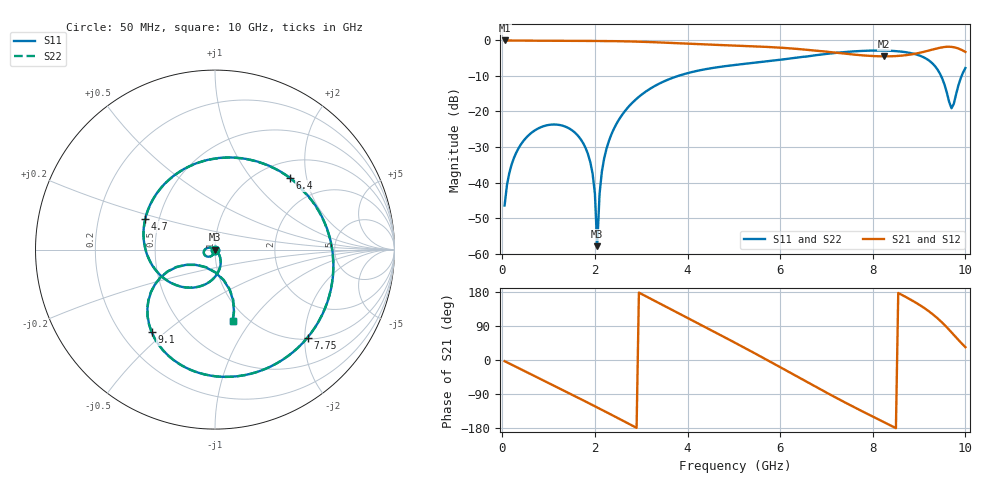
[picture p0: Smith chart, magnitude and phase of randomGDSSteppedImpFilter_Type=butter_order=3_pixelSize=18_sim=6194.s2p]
! freq	dB(S11)	phase(S11)	dB(S12)	phase(S12)
!  dB(S21)	phase(S21)	dB(S22)	phase(S22)
!S-par simulation data
#  GHz  S  DB  R 50
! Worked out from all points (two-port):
!   200 points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, 50 MHz to 10 GHz, reference 50 ohm
!   highest |S21| = 0.00 dB at 50 MHz (marker M1); lowest = -4.5 dB at 8.25 GHz (marker M2)
!   |S21| within 3 dB of the highest: start of sweep to 6.887 GHz; 9.163 GHz to 9.969 GHz (805.7 MHz wide, 8.42 % of centre)
!   lowest |S11| = -57.9 dB at 2.05 GHz (marker M3), VSWR 1.00, Z = 49.9 - j0.0307 ohm
!   |S11| at or under -10 dB: start of sweep to 3.795 GHz; 9.474 GHz to 9.919 GHz (444.6 MHz wide, 4.59 % of centre)
!   |S22| runs from -57.8 to -2.8 dB; largest |S21 - S12| = 0
!   S11 on the Smith chart (normalised r, x): 50 MHz: 1.00, -0.01; 4.7 GHz: 0.42, +0.17; 6.4 GHz: 1.33, +1.60; 7.75 GHz: 1.04, -2.07; 9.1 GHz: 0.33, -0.45; 10 GHz: 0.86, -0.82
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0.05  -46.46 -88.6  -0.00 -3.1  -0.00 -3.1  -46.46 -88.6
0.25  -33.12 -104.1  -0.03 -15.3  -0.03 -15.3  -33.13 -104.1
0.65  -25.79 -129.8  -0.07 -39.5  -0.07 -39.5  -25.79 -129.8
1.75  -29.00 162.7  -0.13 -106.6  -0.13 -106.6  -28.99 162.3
1.95  -37.48 150.5  -0.14 -119.0  -0.14 -119.0  -37.47 149.5
2  -43.15 147.7  -0.15 -122.1  -0.15 -122.1  -43.13 145.8
2.05  -57.91 -166.0  -0.15 -125.2  -0.15 -125.2  -57.82 91.5
2.15  -36.93 -42.6  -0.16 -131.5  -0.16 -131.5  -36.94 -41.8
2.35  -26.63 -54.9  -0.19 -144.0  -0.19 -144.0  -26.64 -54.8
3.4  -12.08 -121.5  -0.56 149.1  -0.56 149.1  -12.09 -121.7
4.05  -9.04 -162.5  -0.93 107.8  -0.93 107.8  -9.04 -162.8
4.7  -7.44 156.4  -1.28 66.5  -1.28 66.5  -7.44 155.9
5.05  -6.86 133.9  -1.46 44.0  -1.46 44.0  -6.86 133.3
5.7  -5.91 91.1  -1.81 1.2  -1.81 1.2  -5.91 90.4
6.4  -4.76 43.8  -2.42 -46.0  -2.42 -46.0  -4.76 43.1
6.7  -4.28 23.7  -2.76 -66.0  -2.76 -66.0  -4.28 23.2
7.75  -2.96 -43.5  -4.17 -133.9  -4.17 -133.9  -2.96 -43.9
8.25  -2.85 -73.5  -4.48 -164.5  -4.48 -164.5  -2.85 -73.7
8.35  -2.89 -79.5  -4.47 -170.6  -4.47 -170.6  -2.89 -79.7
9.1  -4.75 -127.7  -3.21 138.2  -3.21 138.2  -4.76 -127.8
9.7  -19.08 -116.4  -1.81 73.0  -1.81 73.0  -19.21 -116.3
10  -7.77 -76.1  -3.23 33.9  -3.23 33.9  -7.77 -75.9
